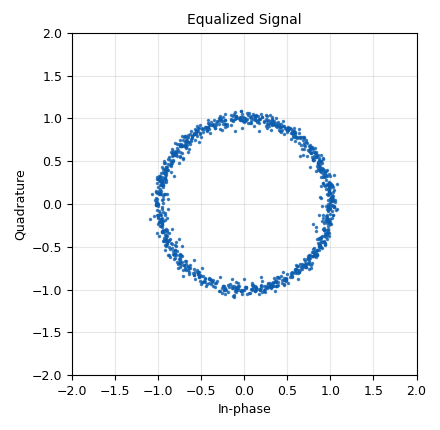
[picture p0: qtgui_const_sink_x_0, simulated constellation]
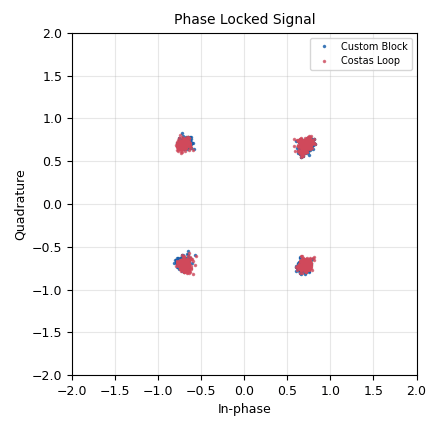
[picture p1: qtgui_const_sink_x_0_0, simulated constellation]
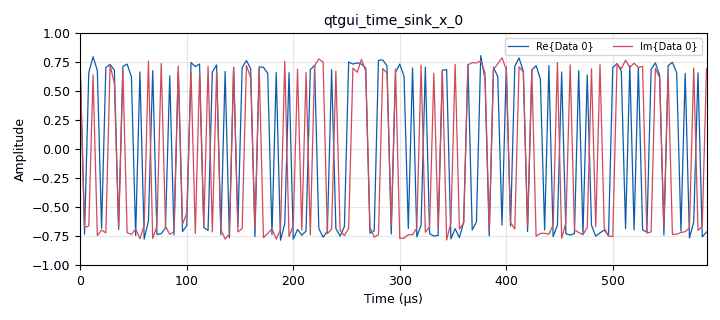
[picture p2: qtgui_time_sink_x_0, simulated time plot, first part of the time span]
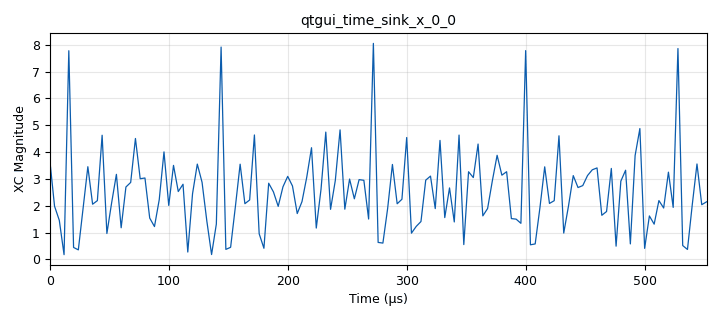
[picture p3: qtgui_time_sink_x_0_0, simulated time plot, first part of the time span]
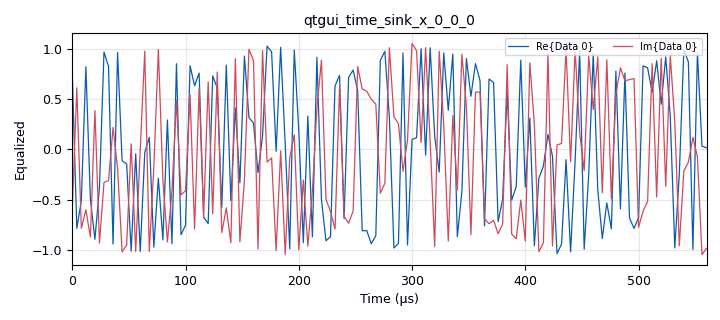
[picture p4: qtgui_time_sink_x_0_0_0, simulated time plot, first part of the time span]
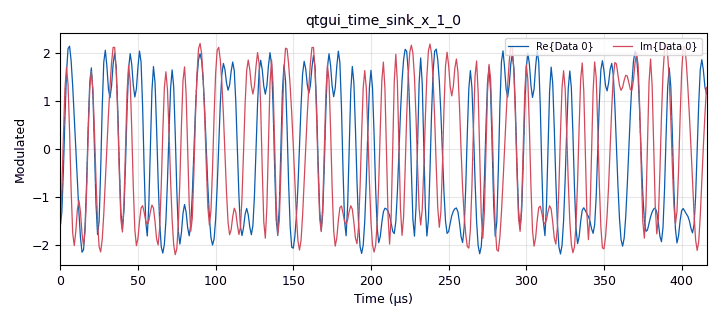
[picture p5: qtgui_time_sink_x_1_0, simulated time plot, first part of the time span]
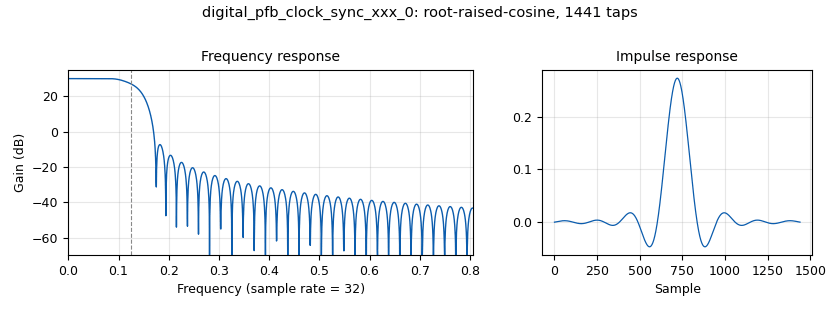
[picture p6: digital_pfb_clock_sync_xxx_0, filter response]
options:
  parameters:
    author: Naoki Pross
    generate_options: qt_gui
    id: correlator
    output_language: python
    title: Correlator Test
  states: {}

blocks:
- name: access_code_symbols
  id: variable
  parameters:
    value: .5 * np.array([(-1.4142135623730951-1.4142135623730951j), (1.4142135623730951-1.4142135623730951j), (1.4142135623730951+1.4142135623730951j), (1.4142135623730951+1.4142135623730951j), (-1.4142135623730951-1.4142135623730951j), (1.4142135623730951+1.4142135623730951j), (1.4142135623730951-1.4142135623730951j), (1.4142135623730951-1.4142135623730951j)])
  states: {}
- name: const
  id: variable_constellation
  parameters:
    precision: '8'
    type: qpsk
  states: {}
- name: excess_bw
  id: variable
  parameters:
    value: '.35'
  states: {}
- name: frame_len
  id: variable
  parameters:
    value: len(testvec) + 4
  states: {}
- name: nfilts
  id: variable
  parameters:
    value: '32'
  states: {}
- name: revconj_access_code_symbols
  id: variable
  parameters:
    value: '[(1.4142135623730951+1.4142135623730951j), (1.4142135623730951+1.4142135623730951j), (1.4142135623730951-1.4142135623730951j), (-1.4142135623730951+1.4142135623730951j), (1.4142135623730951-1.4142135623730951j), (1.4142135623730951-1.4142135623730951j), (1.4142135623730951+1.4142135623730951j), (-1.4142135623730951+1.4142135623730951j)]'
  states: {}
- name: rrc_taps
  id: variable
  parameters:
    value: firdes.root_raised_cosine(nfilts, nfilts, 1.0/float(sps), excess_bw, 45*nfilts)
  states: {}
- name: samp_rate
  id: variable
  parameters:
    value: int(1e6)
  states: {}
- name: sps
  id: variable
  parameters:
    value: '4'
  states: {}
- name: testvec
  id: variable
  parameters:
    value: '[0x1f, 0x35] + [0x12, 0x48] '
  states: {}
- name: timing_loop_bw
  id: variable
  parameters:
    value: 2 * np.pi / 100
  states: {}
- name: analog_random_source_x_0
  id: analog_random_source_x
  parameters:
    max: '255'
    min: '0'
    num_samps: '1000'
    repeat: 'True'
    type: byte
  states: {}
- name: blocks_complex_to_magphase_0_0
  id: blocks_complex_to_magphase
  parameters: {}
  states: {}
- name: blocks_multiply_const_vxx_0_0
  id: blocks_multiply_const_vxx
  parameters:
    const: 180 / 3.141592653589793
    type: float
  states: {state: disabled}
- name: blocks_null_sink_3
  id: blocks_null_sink
  parameters:
    type: float
  states: {}
- name: blocks_null_source_0
  id: blocks_null_source
  parameters:
    type: byte
  states: {}
- name: blocks_repack_bits_bb_0
  id: blocks_repack_bits_bb
  parameters:
    align_output: 'True'
    endianness: gr.GR_MSB_FIRST
    k: '2'
    l: '8'
  states: {}
- name: blocks_socket_pdu_0
  id: blocks_socket_pdu
  parameters:
    host: ''
    mtu: '10000'
    port: '52001'
    tcp_no_delay: 'False'
    type: TCP_SERVER
  states: {state: disabled}
- name: blocks_stream_mux_0
  id: blocks_stream_mux
  parameters:
    lengths: '[0, len(testvec), 4]'
    num_inputs: '3'
    type: byte
  states: {}
- name: blocks_stream_to_vector_0
  id: blocks_stream_to_vector
  parameters:
    num_items: frame_len
    type: byte
  states: {}
- name: blocks_tagged_stream_align_0
  id: blocks_tagged_stream_align
  parameters:
    lengthtagname: frame_start
    type: byte
  states: {}
- name: blocks_tagged_stream_to_pdu_1
  id: blocks_tagged_stream_to_pdu
  parameters:
    tag: frame_start
    type: byte
  states: {state: disabled}
- name: blocks_throttle_0
  id: blocks_throttle
  parameters:
    samples_per_second: samp_rate
    type: complex
  states: {}
- name: blocks_vector_source_x_0
  id: blocks_vector_source_x
  parameters:
    repeat: 'True'
    type: byte
    vector: testvec * 10000
  states: {}
- name: channels_channel_model_0
  id: channels_channel_model
  parameters:
    epsilon: '1.0'
    freq_offset: '0.002'
    noise_voltage: '0.1'
    seed: '243'
    taps: np.exp(1j * 30 / 180 * np.pi)
  states: {}
- name: digital_cma_equalizer_cc_0
  id: digital_cma_equalizer_cc
  parameters:
    modulus: '1'
    mu: '.002'
    num_taps: '15'
    sps: '1'
  states: {}
- name: digital_constellation_decoder_cb_0
  id: digital_constellation_decoder_cb
  parameters:
    constellation: const
  states: {}
- name: digital_constellation_modulator_0
  id: digital_constellation_modulator
  parameters:
    constellation: const
    differential: 'False'
    excess_bw: excess_bw
    samples_per_symbol: sps
  states: {}
- name: digital_corr_est_cc_0
  id: digital_corr_est_cc
  parameters:
    mark_delay: len(access_code_symbols) // 2
    sps: '1'
    symbols: access_code_symbols
    threshold: '.9'
    threshold_method: digital.THRESHOLD_ABSOLUTE
  states: {}
- name: digital_costas_loop_cc_0
  id: digital_costas_loop_cc
  parameters:
    order: '4'
    w: 2 * 3.141592653589793 / 100
  states: {}
- name: digital_pfb_clock_sync_xxx_0
  id: digital_pfb_clock_sync_xxx
  parameters:
    filter_size: nfilts
    init_phase: '16'
    loop_bw: timing_loop_bw
    max_dev: '1.5'
    osps: '1'
    sps: sps
    taps: rrc_taps
    type: ccf
  states: {}
- name: epy_block_0
  id: epy_block
  parameters:
    _source_code: |
      import pmt

      import numpy as np
      from gnuradio import gr

      # hide debugging print statements for the moment
      print = lambda x: None

      class blk(gr.sync_block):
          """
          Apply phase and frequency correction where there is a correlation peak tag.

          The correlation peak tags are NOT propagated, and instead replaced with a
          frame_start tag.
          """
          def __init__(self):
              gr.sync_block.__init__(
                  self,
                  name='Phase and Frequency Correction',
                  in_sig=[np.complex64],
                  out_sig=[np.complex64]
              )

              # tags should not be propagated, we then output our own tags
              self.set_tag_propagation_policy(gr.TPP_DONT)

              # because we do block processing, we need to keep track of the last tag
              # of the previous block to correct the first values of the next block
              self.last = None
              self.lastfreq = 0

              self.lastnback = 0
              self.lastnsamples = 0

          def block_phase(self, start, end):
              """
              Compute a vector for the phase and frequency correction for the samples
              between two tags (start and end).

              @param start Tag where the samples should start to be corrected
              @param end   Tag where to stop correcting

              @return A vector of phase values for each sample. To correct the samples
                      the data should be multiplied with np.exp(-1j * phase)
              """
              # compute number of samples between tags
              nsamples = end.offset - start.offset

              # debugging, see last lines of self.work()
              self.lastnsamples = nsamples

              # unpack pmt values into start and end phase
              sphase = pmt.to_python(start.value)
              ephase = pmt.to_python(end.value)

              # compute frequency offset between start and end
              phasediff = (ephase - sphase) % (2 * np.pi)
              freq = phasediff / nsamples

              # save this one for the last block (see variable `end' in self.work)
              self.lastfreq = freq

              # debugging
              print(f"Correction for chunk of {nsamples:2d} samples is " \
                    f"sphase={sphase: .4f} rad and freq={freq*1e3: .4f}e-3 rad / sample")

              # compute chunk values
              return sphase * np.ones(nsamples) + freq * np.arange(0, nsamples)

          def work(self, input_items, output_items):
              counter = self.nitems_written(0)
              print(f"Counter is at {counter} (nitems_written)")

              # nicer aliases
              inp = input_items[0]
              out = output_items[0]

              # read phase tags
              is_phase = lambda tag: pmt.to_python(tag.key) == "phase_est"
              tags = list(filter(is_phase, self.get_tags_in_range(0, counter, counter + len(inp))))

              if not tags:
                  print(f"There were no tags in {len(inp)} samples!")
                  out[:] = inp
                  return len(out)

              # debugging
              print(f"Processing {len(tags)} tags = {tags[-1].offset - tags[0].offset} " \
                    f"samples out of {len(inp)} input samples")

              # compute "the middle"
              enough_samples = lambda pair: ((pair[1].offset - pair[0].offset) > 0)
              pairs = list(filter(enough_samples, zip(tags, tags[1:])))
              chunks = [ self.block_phase(start, end) for (start, end) in pairs ]
              middle = np.concatenate(chunks) if chunks else []

              # compute values at the end, we do not have informations about the future
              # but we can use the frequency of the last tag to approximate
              nback = len(inp) - (tags[-1].offset - counter)
              print(f"Processing {nback} samples at the back of the buffer")
              end = np.ones(nback) * pmt.to_python(tags[-1].value) \
                      + self.lastfreq * np.arange(0, nback)


              # compute the "start", using the last tag from the previous call
              nfront = tags[0].offset - counter
              print(f"Processing {nfront} samples at the front of the buffer")
              start = self.block_phase(self.last, tags[0])[-nfront:] \
                      if self.last and nfront else np.zeros(nfront)
              # start = np.zeros(nfront)

              # debugging
              if nfront + self.lastnback != self.lastnsamples:
                  print("Something went wrong: last back + front != chunk size,"\
                       f" {self.lastnback} + {nfront} != {self.lastnsamples}")
              self.lastnback = nback

              # compute correction
              correction = np.exp(-1j * np.concatenate([start, middle, end]))
              length = len(correction)

              # write outputs
              out[:] = inp * correction

              # save last tag for next call
              self.last = tags[-1]

              # corr_start phase tags
              is_start = lambda tag: pmt.to_python(tag.key) == "corr_start"
              start_tags = list(filter(is_start, \
                  self.get_tags_in_range(0, counter, counter + len(inp))))

              for tag in start_tags:
                  self.add_item_tag(0, tag.offset +1, \
                          pmt.intern("frame_start"), pmt.from_long(8))

              print(f"Writing {len(out)} samples")
              return len(out)
  states: {}
- name: epy_block_1
  id: epy_block
  parameters:
    _source_code: |
      import numpy as np
      from gnuradio import gr

      # remove print for now
      # print = lambda x: None

      np.set_printoptions(formatter={'int':hex})

      class blk(gr.sync_block):
          def __init__(self, vlen=8):
              gr.sync_block.__init__(
                  self,
                  name='Printer',
                  in_sig=[(np.byte, vlen)],
                  out_sig=[]
              )

          def work(self, input_items, output_items):
              inp = np.array(input_items[0], dtype=np.uint8)
              print(f"Decoded {len(inp)} samples:\n{inp}")

              return len(inp)
    vlen: frame_len
  states: {}
- name: epy_block_2
  id: epy_block
  parameters:
    _source_code: |
      import pmt
      import functools

      import numpy as np
      from gnuradio import gr


      class blk(gr.decim_block):

          def __init__(self, tag="frame_start", vlen=1):
              decim = vlen

              gr.decim_block.__init__(
                  self,
                  name='Split at tag',
                  in_sig=[np.byte],
                  out_sig=[(np.byte, vlen)],
                  decim = decim -1
              )

              if decim > 1:
                  self.set_relative_rate(1. / (decim -1))

              self.tag = tag
              self.vlen = vlen

          def work(self, input_items, output_items):
              # nicer aliases
              inp = input_items[0]
              inplen = len(inp)
              oup = output_items[0]
              ouplen = len(oup)

              is_frame_start = lambda tag: pmt.to_python(tag.key) == self.tag
              tags = list(filter(is_frame_start, self.get_tags_in_window(0, 0, inplen)))

              if len(tags) == 0:
                  print("There are not tags!")

              # get indices of where the frames are
              counter = self.nitems_written(0) # * self.vlen
              offsets = list(map(lambda t: t.offset - counter, tags))
              indices = list(zip(offsets, offsets[1:]))

              print(list(map(lambda t: t.offset, tags)))
              print(offsets)
              print(indices)

              # Get chunks
              def get_inp_chunk(index_pair): 
                  # read a chunk from the inp array
                  # if there are not enough values the rest is padded with zeros,
                  # if there are too many values, they get cut off
                  start = index_pair[0]
                  end = index_pair[1]
                  length = end - start

                  assert start != end

                  print(f"getting chunk from {start} to {end} of length {length}")

                  # not enough values
                  if length < self.vlen:
                      pad = self.vlen - length
                      print(f"Chunk was too short! Adding {pad} zeros to pad")
                      return np.concatenate([inp[start:end], np.zeros(pad)])

                  # too many values
                  if length > self.vlen:
                      print(f"Chunk was too long! Cutting off {length - self.vlen} values")
                      end = start + self.vlen
                      return inp[start:end]

                  # okay
                  rv = inp[start:end]
                  print(rv)
                  return rv

              chunks = list(map(get_inp_chunk, indices))

              assert len(chunks) != 0

              print(chunks)
              oup[:] = np.concatenate(chunks).reshape((-1, self.vlen))

              return len(oup)
    tag: '''frame_start'''
    vlen: len(testvec)
  states: {state: disabled}
- name: fir_filter_xxx_1
  id: fir_filter_xxx
  parameters:
    decim: '1'
    taps: revconj_access_code_symbols
    type: ccc
  states: {state: disabled}
- name: import_0
  id: import
  parameters:
    imports: import numpy as np
  states: {}
- name: note_0
  id: note
  parameters:
    comment: |-
      THIS FLOWGRAPH MUST BE RUN
      FROM THE TERMINAL BECAUSE
      IT HAS A HUGE OUTPUT (PRINT)
    note: README
  states: {}
- name: qtgui_const_sink_x_0
  id: qtgui_const_sink_x
  parameters:
    gui_hint: 0,1,2,1
    name: '"Equalized Signal"'
    size: '1024'
    type: complex
  states: {}
- name: qtgui_const_sink_x_0_0
  id: qtgui_const_sink_x
  parameters:
    gui_hint: 2,1,2,1
    label1: Custom Block
    label2: Costas Loop
    name: '"Phase Locked Signal"'
    nconnections: '2'
    size: '1024'
    type: complex
  states: {}
- name: qtgui_time_sink_x_0
  id: qtgui_time_sink_x
  parameters:
    size: '1024'
    srate: samp_rate / sps
    type: complex
  states: {}
- name: qtgui_time_sink_x_0_0
  id: qtgui_time_sink_x
  parameters:
    autoscale: 'True'
    size: '1024'
    srate: samp_rate / sps
    type: float
    ylabel: XC Magnitude
    ymax: '20'
    ymin: '0'
  states: {}
- name: qtgui_time_sink_x_0_0_0
  id: qtgui_time_sink_x
  parameters:
    autoscale: 'True'
    size: '1024'
    srate: samp_rate / sps
    type: complex
    ylabel: Equalized
    ymax: '2'
    ymin: '-2'
  states: {}
- name: qtgui_time_sink_x_1_0
  id: qtgui_time_sink_x
  parameters:
    autoscale: 'True'
    gui_hint: 0,0,1,1
    size: '1024'
    srate: samp_rate
    type: complex
    ylabel: Modulated
    ymax: '2'
    ymin: '-2'
  states: {}
- name: qtgui_time_sink_x_1_1
  id: qtgui_time_sink_x
  parameters:
    autoscale: 'True'
    grid: 'True'
    gui_hint: 1,0,1,1
    size: '1024'
    srate: samp_rate
    type: complex
    ylabel: Equalized
    ymax: '2'
    ymin: '-2'
  states: {state: disabled}
- name: qtgui_time_sink_x_2_0
  id: qtgui_time_sink_x
  parameters:
    autoscale: 'True'
    size: '1024'
    srate: samp_rate
    type: float
    ylabel: XC Phase
  states: {state: disabled}
- name: virtual_sink_0
  id: virtual_sink
  parameters:
    stream_id: envelope
  states: {}
- name: virtual_sink_3
  id: virtual_sink
  parameters:
    stream_id: locked
  states: {}
- name: virtual_source_0
  id: virtual_source
  parameters:
    stream_id: envelope
  states: {}
- name: virtual_source_1
  id: virtual_source
  parameters:
    stream_id: locked
  states: {}

connections:
- [analog_random_source_x_0, '0', blocks_stream_mux_0, '2']
- [blocks_complex_to_magphase_0_0, '0', qtgui_time_sink_x_0_0, '0']
- [blocks_complex_to_magphase_0_0, '1', blocks_multiply_const_vxx_0_0, '0']
- [blocks_complex_to_magphase_0_0, '1', blocks_null_sink_3, '0']
- [blocks_multiply_const_vxx_0_0, '0', qtgui_time_sink_x_2_0, '0']
- [blocks_null_source_0, '0', blocks_stream_mux_0, '0']
- [blocks_repack_bits_bb_0, '0', blocks_stream_to_vector_0, '0']
- [blocks_stream_mux_0, '0', digital_constellation_modulator_0, '0']
- [blocks_stream_to_vector_0, '0', epy_block_1, '0']
- [blocks_tagged_stream_align_0, '0', blocks_repack_bits_bb_0, '0']
- [blocks_tagged_stream_to_pdu_1, pdus, blocks_socket_pdu_0, pdus]
- [blocks_throttle_0, '0', virtual_sink_0, '0']
- [blocks_vector_source_x_0, '0', blocks_stream_mux_0, '1']
- [channels_channel_model_0, '0', blocks_throttle_0, '0']
- [digital_cma_equalizer_cc_0, '0', digital_corr_est_cc_0, '0']
- [digital_cma_equalizer_cc_0, '0', fir_filter_xxx_1, '0']
- [digital_cma_equalizer_cc_0, '0', qtgui_const_sink_x_0, '0']
- [digital_cma_equalizer_cc_0, '0', qtgui_time_sink_x_1_1, '0']
- [digital_constellation_decoder_cb_0, '0', blocks_tagged_stream_align_0, '0']
- [digital_constellation_modulator_0, '0', channels_channel_model_0, '0']
- [digital_constellation_modulator_0, '0', qtgui_time_sink_x_1_0, '0']
- [digital_corr_est_cc_0, '0', digital_costas_loop_cc_0, '0']
- [digital_corr_est_cc_0, '0', epy_block_0, '0']
- [digital_corr_est_cc_0, '0', qtgui_time_sink_x_0_0_0, '0']
- [digital_corr_est_cc_0, '1', blocks_complex_to_magphase_0_0, '0']
- [digital_costas_loop_cc_0, '0', qtgui_const_sink_x_0_0, '1']
- [digital_pfb_clock_sync_xxx_0, '0', digital_cma_equalizer_cc_0, '0']
- [epy_block_0, '0', qtgui_const_sink_x_0_0, '0']
- [epy_block_0, '0', qtgui_time_sink_x_0, '0']
- [epy_block_0, '0', virtual_sink_3, '0']
- [fir_filter_xxx_1, '0', blocks_complex_to_magphase_0_0, '0']
- [virtual_source_0, '0', digital_pfb_clock_sync_xxx_0, '0']
- [virtual_source_1, '0', digital_constellation_decoder_cb_0, '0']

metadata:
  file_format: 1
